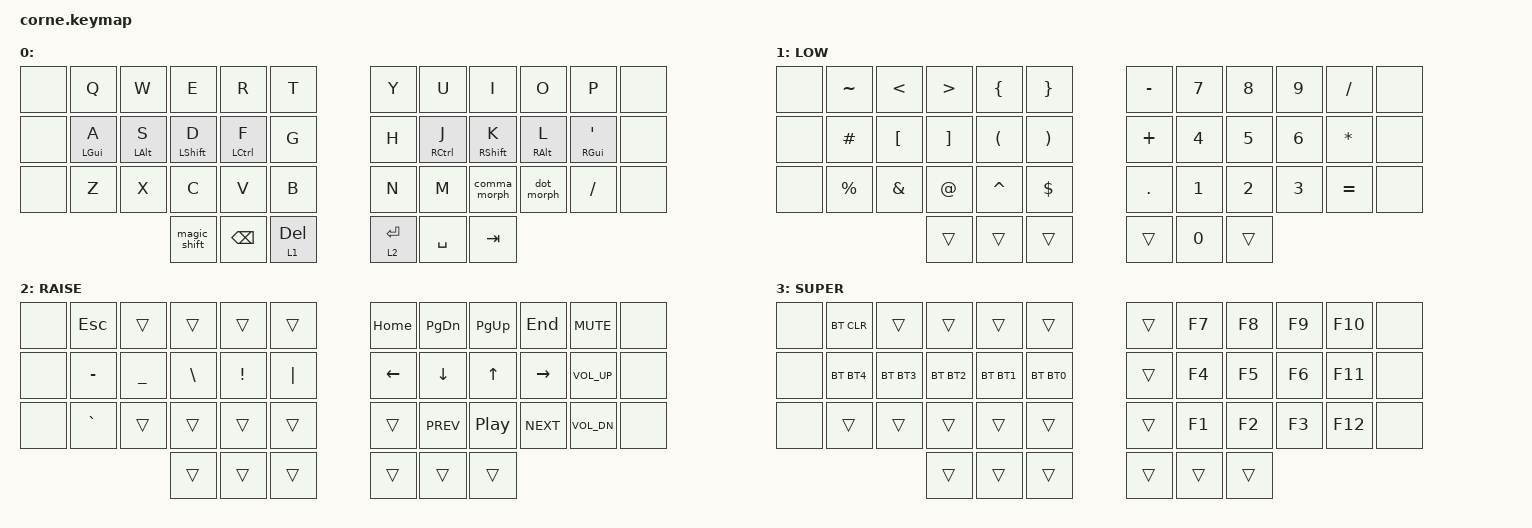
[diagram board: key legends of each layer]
/*
 * Copyright (c) 2020 The ZMK Contributors
 *
 * SPDX-License-Identifier: MIT
 */

#include <behaviors.dtsi>
#include <dt-bindings/zmk/keys.h>
#include <dt-bindings/zmk/bt.h>
#include <dt-bindings/zmk/outputs.h>
#include <dt-bindings/zmk/ext_power.h>
#include <dt-bindings/led/led.h>
#include <dt-bindings/zmk/reset.h>

#include "zmk-helpers/helper.h"
#include "zmk-helpers/key-labels/36.h"                                      // Source key-labels.

#define KEYS_L LT0 LT1 LT2 LT3 LT4 LM0 LM1 LM2 LM3 LM4 LB0 LB1 LB2 LB3 LB4  // Left-hand keys.
#define KEYS_R RT0 RT1 RT2 RT3 RT4 RM0 RM1 RM2 RM3 RM4 RB0 RB1 RB2 RB3 RB4  // Right-hand keys.
#define THUMBS LH2 LH1 LH0 RH0 RH1 RH2                                      // Thumb keys.

#define BT0         BT_SEL 0
#define BT1         BT_SEL 1
#define BT2         BT_SEL 2
#define BT3         BT_SEL 3
#define BT4         BT_SEL 4

/* Left-hand HRMs. */
ZMK_HOLD_TAP(hml,
    flavor = "balanced";
    tapping-term-ms = <280>;
    quick-tap-ms = <175>;
    require-prior-idle-ms = <150>;
    bindings = <&kp>, <&kp>;
    hold-trigger-key-positions = <KEYS_R THUMBS>;
    hold-trigger-on-release;
)

/* Right-hand HRMs. */
ZMK_HOLD_TAP(hmr,
    flavor = "balanced";
    tapping-term-ms = <280>;
    quick-tap-ms = <175>;
    require-prior-idle-ms = <150>;
    bindings = <&kp>, <&kp>;
    hold-trigger-key-positions = <KEYS_L THUMBS>;
    hold-trigger-on-release;
)

#define SIMPLE_MORPH(NAME, MOD, BINDING1, BINDING2)                            \
  ZMK_MOD_MORPH(NAME, mods = <(MOD_L##MOD | MOD_R##MOD)>;                      \
                bindings = <BINDING1>, <BINDING2>;)
// Tap: comma | Shift + tap: semicolon | Ctrl + shift + tap: <.
SIMPLE_MORPH(comma_morph, SFT, &kp COMMA, &comma_inner_morph)
SIMPLE_MORPH(comma_inner_morph, CTL, &kp SEMICOLON, &kp LESS_THAN)

// Tap: dot | Shift + tap: colon | Ctrl + shift + tap: >.
SIMPLE_MORPH(dot_morph, SFT, &kp DOT, &dot_inner_morph)
SIMPLE_MORPH(dot_inner_morph, CTL, &kp COLON, &kp GREATER_THAN)

// Tap: sticky-shift, Shift + tap/double tap: caps_word,
ZMK_TAP_DANCE(magic_shift, bindings = <&tap_shift>, <&caps_word>;
              tapping-term-ms = <200>;)
SIMPLE_MORPH(tap_shift, SFT, &sk LSHFT, &caps_word)
&caps_word { // Mods deactivate caps-word, requires PR #1451. [TODO: rebase]
  /delete-property/ ignore-modifiers;
};

 
/ {
      conditional_layers {
        compatible = "zmk,conditional-layers";
        super_layer {
            if-layers = <1 2>;
            then-layer = <3>;
        };
    };

    keymap {
        compatible = "zmk,keymap";

        default_layer {
            display-name = "";

            bindings = <
&none &kp Q        &kp W        &kp E         &kp R         &kp T           &kp Y      &kp U         &kp I         &kp O        &kp P          &none
&none &hml LGUI A  &hml LALT S  &hml LSHFT D  &hml LCTRL F  &kp G           &kp H      &hmr RCTRL J  &hmr RSHFT K  &hmr RALT L  &hmr RGUI SQT  &none
&none &kp Z        &kp X        &kp C         &kp V         &kp B           &kp N      &kp M         &comma_morph  &dot_morph   &kp FSLH       &none
                                &magic_shift  &kp BSPC      &lt 1 DEL       &lt 2 RET  &kp SPC       &kp TAB
            >;
        };

        lower_layer {
            display-name = "LOW";

            bindings = <
&none &kp TILDE  &kp LT     &kp GT    &kp LBRC    &kp RBRC        &kp MINUS &kp N7    &kp N8    &kp N9    &kp FSLH  &none
&none &kp HASH   &kp LBKT   &kp RBKT  &kp LPAR    &kp RPAR        &kp PLUS  &kp N4    &kp N5    &kp N6    &kp STAR  &none
&none &kp PRCNT  &kp AMPS   &kp AT    &kp CARET   &kp DLLR        &kp DOT   &kp N1    &kp N2    &kp N3    &kp EQUAL &none
                            &trans    &trans      &trans          &trans    &kp N0    &trans
            >;
        };

        raise_layer {
            display-name = "RAISE";

            bindings = <
&none &kp ESC   &trans    &trans     &trans    &trans       &kp HOME   &kp PG_DN  &kp PG_UP &kp END     &kp C_MUTE    &none
&none &kp MINUS &kp UNDER &kp BSLH   &kp EXCL  &kp PIPE     &kp LEFT   &kp DOWN   &kp UP    &kp RIGHT   &kp C_VOL_UP  &none
&none &kp GRAVE &trans    &trans     &trans    &trans       &trans     &kp C_PREV &kp C_PP  &kp C_NEXT  &kp C_VOL_DN  &none
                          &trans     &trans    &trans       &trans     &trans     &trans
            >;
        };

        super_layer {
            display-name = "SUPER";

            bindings = <
&none &bt BT_CLR    &trans    &trans     &trans    &trans       &trans     &kp F7    &kp F8    &kp F9  &kp F10 &none
&none &bt BT4       &bt BT3   &bt BT2    &bt BT1   &bt BT0      &trans     &kp F4    &kp F5    &kp F6  &kp F11 &none
&none &trans        &trans    &trans     &trans    &trans       &trans     &kp F1    &kp F2    &kp F3  &kp F12 &none
                              &trans     &trans    &trans       &trans     &trans    &trans
            >;
        };

        extra_2 {
            status = "reserved";
        };

        extra_3 {
            status = "reserved";
        };
    };
};
